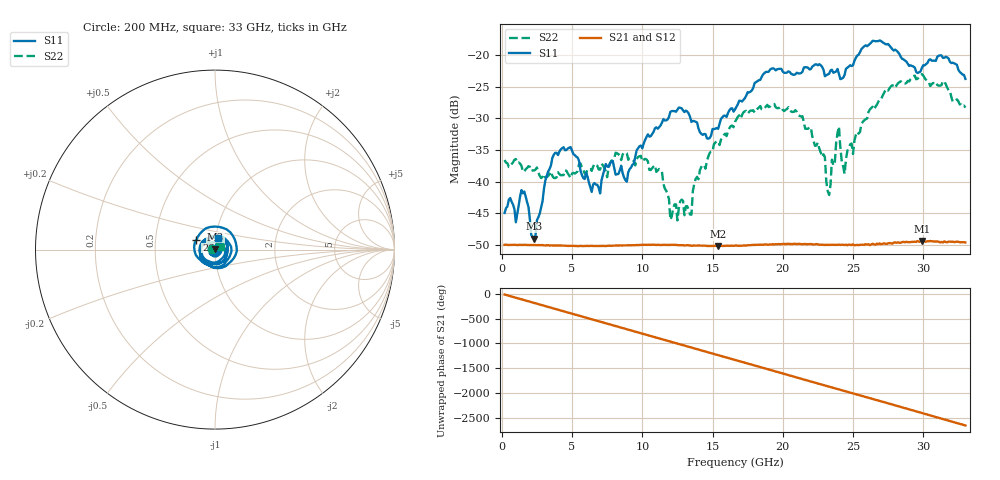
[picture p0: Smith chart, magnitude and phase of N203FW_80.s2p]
# GHZ S RI R 50
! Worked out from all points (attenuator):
!   329 points, 200 MHz to 33 GHz, reference 50 ohm
!   highest |S21| = -49.34 dB at 29.9 GHz (marker M1); lowest = -50.2 dB at 15.4 GHz (marker M2)
!   lowest |S11| = -49.0 dB at 2.3 GHz (marker M3), VSWR 1.01, Z = 50.1 + j0.343 ohm
!   |S11| at or under -10 dB: start of sweep to end of sweep
!   |S22| runs from -46.1 to -23.0 dB; largest |S21 - S12| = 8.8e-05
!   S11 on the Smith chart (normalised r, x): 200 MHz: 1.01, +0.00; 26 GHz: 0.81, +0.09; 33 GHz: 1.03, +0.13
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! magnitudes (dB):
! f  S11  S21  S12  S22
! 200 MHz  -44.9  -49.9  -49.9  -36.6
! 1.6 GHz  -41.5  -50.0  -49.9  -38.4
! 2.3 GHz  -49.0  -50.0  -50.0  -38.2
! 3.8 GHz  -35.4  -50.1  -50.0  -39.4
! 5.7 GHz  -38.9  -50.1  -50.1  -37.7
! 8.9 GHz  -40.0  -50.0  -50.0  -35.5
! 11.2 GHz  -31.4  -50.0  -49.9  -38.0
! 12 GHz  -29.0  -50.0  -49.9  -46.0
! 13.5 GHz  -30.6  -50.1  -50.1  -45.2
! 13.8 GHz  -30.5  -50.1  -50.1  -39.5
! 15.4 GHz  -31.7  -50.2  -50.2  -33.7
! 16.6 GHz  -28.6  -50.1  -50.1  -30.6
! 19.4 GHz  -22.2  -49.9  -49.9  -27.7
! 22.1 GHz  -21.8  -49.8  -49.8  -32.9
! 23 GHz  -23.4  -50.0  -50.0  -36.1
! 23.3 GHz  -23.0  -50.0  -49.9  -42.1
! 24 GHz  -23.0  -49.9  -49.9  -31.3
! 24.4 GHz  -23.2  -50.0  -49.9  -38.8
! 26 GHz  -18.6  -49.9  -49.8  -30.0
! 27.6 GHz  -18.5  -49.7  -49.7  -25.2
! 29.9 GHz  -22.1  -49.3  -49.5  -23.0
! 33 GHz  -23.8  -49.6  -49.6  -28.3
